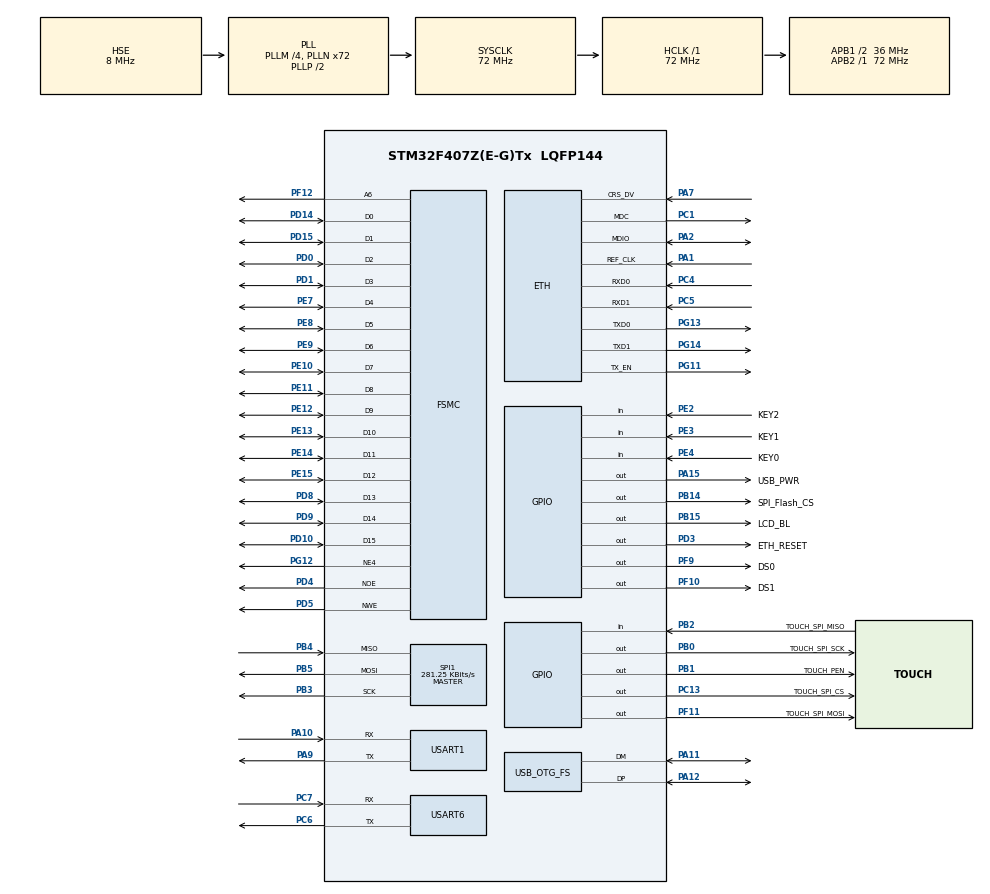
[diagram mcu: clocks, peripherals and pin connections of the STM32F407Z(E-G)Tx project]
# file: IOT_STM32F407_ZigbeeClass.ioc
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ETH.MACAddr=00\:80\:E1\:00\:00\:00
ETH.MediaInterface=ETH_MEDIA_INTERFACE_RMII
ETH.PHY_DUPLEX_STATUS=0x0010
ETH.PHY_ISFR=0x1D
ETH.PHY_ISFR_INT4=0x0010
ETH.PHY_SPEED_STATUS=0x0004
ETH.PHY_SR=0x1F
ETH.PhyAddress=0
ETH.RxMode=ETH_RXINTERRUPT_MODE
FATFS._CODE_PAGE=936
FATFS._USE_LFN=3
FREERTOS.Tasks01=WebServer_Task,1,4096,WebServerTask,Default,NULL,Dynamic,NULL,NULL;ZigBee_Task,0,256,ZigBeeTask,Default,NULL,Dynamic,NULL,NULL;LVGL_Task,-1,2048,LVGLTask,Default,NULL,Dynamic,NULL,NULL
FREERTOS.configTOTAL_HEAP_SIZE=40960
FSMC.AddressSetupTime1=2
FSMC.BusTurnAroundDuration1=0
FSMC.DataSetupTime1=5
LWIP.GATEWAY_ADDRESS=192.168.010.001
LWIP.IP_ADDRESS=192.168.010.003
LWIP.LWIP_DHCP=0
LWIP.LWIP_DNS=1
LWIP.LWIP_UDP=1
LWIP.NETMASK_ADDRESS=255.255.255.000
LWIP.Version=v2.1.2_Cube
Mcu.Family=STM32F4
Mcu.Name=STM32F407Z(E-G)Tx
Mcu.Package=LQFP144
NVIC.ETH_IRQn=true\:5\:0\:false\:false\:true\:true\:true\:true
NVIC.OTG_FS_IRQn=true\:5\:0\:false\:false\:true\:true\:false\:true
NVIC.PriorityGroup=NVIC_PRIORITYGROUP_4
NVIC.TIM1_UP_TIM10_IRQn=true\:15\:0\:false\:false\:true\:false\:false\:true
NVIC.TIM6_DAC_IRQn=true\:5\:0\:false\:false\:true\:true\:true\:true
NVIC.TimeBase=TIM1_UP_TIM10_IRQn
NVIC.TimeBaseIP=TIM1
NVIC.USART6_IRQn=true\:5\:0\:false\:false\:true\:true\:true\:true
PA1.Mode=RMII
PA1.Signal=ETH_REF_CLK
PA10.Mode=Asynchronous
PA10.Signal=USART1_RX
PA11.Mode=Host_Only
PA11.Signal=USB_OTG_FS_DM
PA12.Mode=Host_Only
PA12.Signal=USB_OTG_FS_DP
PA15.GPIO_Label=USB_PWR
PA15.GPIO_PuPd=GPIO_PULLUP
PA15.PinState=GPIO_PIN_SET
PA15.Signal=GPIO_Output
PA2.Mode=RMII
PA2.Signal=ETH_MDIO
PA7.Mode=RMII
PA7.Signal=ETH_CRS_DV
PA9.Mode=Asynchronous
PA9.Signal=USART1_TX
PB0.GPIO_Label=TOUCH_SPI_SCK
PB0.GPIO_Speed=GPIO_SPEED_FREQ_VERY_HIGH
PB0.Signal=GPIO_Output
PB1.GPIO_Label=TOUCH_PEN
PB1.Signal=GPIO_Output
PB14.GPIO_Label=SPI_Flash_CS
PB14.GPIO_Speed=GPIO_SPEED_FREQ_HIGH
PB14.Signal=GPIO_Output
PB15.GPIO_Label=LCD_BL
PB15.Signal=GPIO_Output
PB2.GPIO_Label=TOUCH_SPI_MISO
PB2.Signal=GPIO_Input
PB3.Mode=Full_Duplex_Master
PB3.Signal=SPI1_SCK
PB4.Mode=Full_Duplex_Master
PB4.Signal=SPI1_MISO
PB5.Mode=Full_Duplex_Master
PB5.Signal=SPI1_MOSI
PC1.Mode=RMII
PC1.Signal=ETH_MDC
PC13-ANTI_TAMP.GPIO_Label=TOUCH_SPI_CS
PC13-ANTI_TAMP.Signal=GPIO_Output
PC14-OSC32_IN.Mode=LSE-External-Oscillator
PC14-OSC32_IN.Signal=RCC_OSC32_IN
PC15-OSC32_OUT.Mode=LSE-External-Oscillator
PC15-OSC32_OUT.Signal=RCC_OSC32_OUT
PC4.Mode=RMII
PC4.Signal=ETH_RXD0
PC5.Mode=RMII
PC5.Signal=ETH_RXD1
PC6.Mode=Asynchronous
PC6.Signal=USART6_TX
PC7.Mode=Asynchronous
PC7.Signal=USART6_RX
PD0.Signal=FSMC_D2_DA2
PD1.Signal=FSMC_D3_DA3
PD10.Signal=FSMC_D15_DA15
PD14.Signal=FSMC_D0_DA0
PD15.Signal=FSMC_D1_DA1
PD3.GPIO_Label=ETH_RESET
PD3.GPIO_Speed=GPIO_SPEED_FREQ_HIGH
PD3.Signal=GPIO_Output
PD4.Signal=FSMC_NOE
PD5.Signal=FSMC_NWE
PD8.Signal=FSMC_D13_DA13
PD9.Signal=FSMC_D14_DA14
PE10.Signal=FSMC_D7_DA7
PE11.Signal=FSMC_D8_DA8
PE12.Signal=FSMC_D9_DA9
PE13.Signal=FSMC_D10_DA10
PE14.Signal=FSMC_D11_DA11
PE15.Signal=FSMC_D12_DA12
PE2.GPIO_Label=KEY2
PE2.GPIO_PuPd=GPIO_PULLUP
PE2.Signal=GPIO_Input
PE3.GPIO_Label=KEY1
PE3.GPIO_PuPd=GPIO_PULLUP
PE3.Signal=GPIO_Input
PE4.GPIO_Label=KEY0
PE4.GPIO_PuPd=GPIO_PULLUP
PE4.Signal=GPIO_Input
PE7.Signal=FSMC_D4_DA4
PE8.Signal=FSMC_D5_DA5
PE9.Signal=FSMC_D6_DA6
PF10.GPIO_Label=DS1
PF10.GPIO_PuPd=GPIO_PULLUP
PF10.GPIO_Speed=GPIO_SPEED_FREQ_HIGH
PF10.Signal=GPIO_Output
PF11.GPIO_Label=TOUCH_SPI_MOSI
PF11.GPIO_Speed=GPIO_SPEED_FREQ_HIGH
PF11.Signal=GPIO_Output
PF12.Signal=FSMC_A6
PF9.GPIO_Label=DS0
PF9.GPIO_PuPd=GPIO_PULLUP
PF9.GPIO_Speed=GPIO_SPEED_FREQ_HIGH
PF9.Signal=GPIO_Output
PG11.Mode=RMII
PG11.Signal=ETH_TX_EN
PG12.Mode=NorPsramChipSelect4_1
PG12.Signal=FSMC_NE4
PG13.Mode=RMII
PG13.Signal=ETH_TXD0
PG14.Mode=RMII
PG14.Signal=ETH_TXD1
PH0-OSC_IN.Mode=HSE-External-Oscillator
PH0-OSC_IN.Signal=RCC_OSC_IN
PH1-OSC_OUT.Mode=HSE-External-Oscillator
PH1-OSC_OUT.Signal=RCC_OSC_OUT
ProjectManager.HeapSize=0x1000
ProjectManager.StackSize=0x1000
ProjectManager.TargetToolchain=MDK-ARM V5.32
RCC.48MHZClocksFreq_Value=48000000
RCC.AHBFreq_Value=72000000
RCC.APB1CLKDivider=RCC_HCLK_DIV2
RCC.APB1Freq_Value=36000000
RCC.APB1TimFreq_Value=72000000
RCC.APB2Freq_Value=72000000
RCC.APB2TimFreq_Value=72000000
RCC.CortexFreq_Value=72000000
RCC.HCLKFreq_Value=72000000
RCC.HSE_VALUE=8000000
RCC.HSI_VALUE=16000000
RCC.PLLM=4
RCC.PLLN=72
RCC.PLLQ=3
RCC.SYSCLKFreq_VALUE=72000000
RCC.SYSCLKSource=RCC_SYSCLKSOURCE_PLLCLK
RCC.VCOOutputFreq_Value=144000000
SH.FSMC_A6.0=FSMC_A6,A6_1
SH.FSMC_D0_DA0.0=FSMC_D0,16b-d1
SH.FSMC_D10_DA10.0=FSMC_D10,16b-d1
SH.FSMC_D11_DA11.0=FSMC_D11,16b-d1
SH.FSMC_D12_DA12.0=FSMC_D12,16b-d1
SH.FSMC_D13_DA13.0=FSMC_D13,16b-d1
SH.FSMC_D14_DA14.0=FSMC_D14,16b-d1
SH.FSMC_D15_DA15.0=FSMC_D15,16b-d1
SH.FSMC_D1_DA1.0=FSMC_D1,16b-d1
SH.FSMC_D2_DA2.0=FSMC_D2,16b-d1
SH.FSMC_D3_DA3.0=FSMC_D3,16b-d1
SH.FSMC_D4_DA4.0=FSMC_D4,16b-d1
SH.FSMC_D5_DA5.0=FSMC_D5,16b-d1
SH.FSMC_D6_DA6.0=FSMC_D6,16b-d1
SH.FSMC_D7_DA7.0=FSMC_D7,16b-d1
SH.FSMC_D8_DA8.0=FSMC_D8,16b-d1
SH.FSMC_D9_DA9.0=FSMC_D9,16b-d1
SH.FSMC_NOE.0=FSMC_NOE,Lcd1
SH.FSMC_NWE.0=FSMC_NWE,Lcd1
SPI1.BaudRatePrescaler=SPI_BAUDRATEPRESCALER_256
SPI1.CalculateBaudRate=281.25 KBits/s
SPI1.Direction=SPI_DIRECTION_2LINES
SPI1.Mode=SPI_MODE_MASTER
SPI1.VirtualType=VM_MASTER
TIM6.AutoReloadPreload=TIM_AUTORELOAD_PRELOAD_ENABLE
TIM6.Period=4999
TIM6.Prescaler=71
USART1.VirtualMode=VM_ASYNC
USART6.VirtualMode=VM_ASYNC
USB_HOST.USBH_HandleTypeDef-MSC_FS=hUsbHostFS
USB_HOST.USBH_USE_OS-MSC_FS=0
USB_HOST.VirtualModeFS=Msc
USB_OTG_FS.VirtualMode=Host_Only
USB_OTG_FS.phy_itface=HCD_PHY_EMBEDDED
VP_FATFS_VS_USB.Mode=USB
VP_FREERTOS_VS_CMSIS_V1.Mode=CMSIS_V1
VP_LWIP_VS_Enabled.Mode=Enabled
VP_SYS_VS_tim1.Mode=TIM1
VP_TIM6_VS_ClockSourceINT.Mode=Enable_Timer
VP_USB_HOST_VS_USB_HOST_MSC_FS.Mode=MSC_FS
board=custom

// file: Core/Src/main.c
/* USER CODE BEGIN Header */
/**
  ******************************************************************************
  * @file           : main.c
  * @brief          : Main program body
  ******************************************************************************
  * @attention
  *
  * <h2><center>&copy; Copyright (c) 2025 STMicroelectronics.
  * All rights reserved.</center></h2>
  *
  * This software component is licensed by ST under BSD 3-Clause license,
  * the "License"; You may not use this file except in compliance with the
  * License. You may obtain a copy of the License at:
  *                        opensource.org/licenses/BSD-3-Clause
  *
  ******************************************************************************
  */
/* USER CODE END Header */
#include "main.h"
#include "cmsis_os.h"
#include "fatfs.h"
#include "lwip.h"
#include "spi.h"
#include "tim.h"
#include "usart.h"
#include "usb_host.h"
#include "gpio.h"
#include "fsmc.h"

/* USER CODE BEGIN Includes */
#include "MyApplication.h"
/* USER CODE END Includes */

void SystemClock_Config(void);
void MX_FREERTOS_Init(void);

int main(void)
{

  /* MCU Configuration--------------------------------------------------------*/

  /* Reset of all peripherals, Initializes the Flash interface and the Systick. */
  HAL_Init();

  /* Configure the system clock */
  SystemClock_Config();

  /* Initialize all configured peripherals */
  MX_GPIO_Init();
  MX_TIM6_Init();
  MX_USART1_UART_Init();
  MX_FATFS_Init();
  MX_FSMC_Init();
  MX_SPI1_Init();
  MX_USART6_UART_Init();
  /* USER CODE BEGIN 2 */
  // 外设初始化
  MyInit.Peripheral_Set();
  printf("外设初始化成功\r\n");
  /* USER CODE END 2 */

  /* Call init function for freertos objects (in freertos.c) */
  MX_FREERTOS_Init();
  /* Start scheduler */
  osKernelStart();

  /* We should never get here as control is now taken by the scheduler */
  /* Infinite loop */
  while (1)
  {

  }
}

void SystemClock_Config(void)
{
  RCC_OscInitTypeDef RCC_OscInitStruct = {0};
  RCC_ClkInitTypeDef RCC_ClkInitStruct = {0};

  /** Configure the main internal regulator output voltage
  */
  __HAL_RCC_PWR_CLK_ENABLE();
  __HAL_PWR_VOLTAGESCALING_CONFIG(PWR_REGULATOR_VOLTAGE_SCALE1);
  /** Initializes the RCC Oscillators according to the specified parameters
  * in the RCC_OscInitTypeDef structure.
  */
  RCC_OscInitStruct.OscillatorType = RCC_OSCILLATORTYPE_HSE;
  RCC_OscInitStruct.HSEState = RCC_HSE_ON;
  RCC_OscInitStruct.PLL.PLLState = RCC_PLL_ON;
  RCC_OscInitStruct.PLL.PLLSource = RCC_PLLSOURCE_HSE;
  RCC_OscInitStruct.PLL.PLLM = 4;
  RCC_OscInitStruct.PLL.PLLN = 72;
  RCC_OscInitStruct.PLL.PLLP = RCC_PLLP_DIV2;
  RCC_OscInitStruct.PLL.PLLQ = 3;
  if (HAL_RCC_OscConfig(&RCC_OscInitStruct) != HAL_OK)
  {
    Error_Handler();
  }
  /** Initializes the CPU, AHB and APB buses clocks
  */
  RCC_ClkInitStruct.ClockType = RCC_CLOCKTYPE_HCLK|RCC_CLOCKTYPE_SYSCLK
                              |RCC_CLOCKTYPE_PCLK1|RCC_CLOCKTYPE_PCLK2;
  RCC_ClkInitStruct.SYSCLKSource = RCC_SYSCLKSOURCE_PLLCLK;
  RCC_ClkInitStruct.AHBCLKDivider = RCC_SYSCLK_DIV1;
  RCC_ClkInitStruct.APB1CLKDivider = RCC_HCLK_DIV2;
  RCC_ClkInitStruct.APB2CLKDivider = RCC_HCLK_DIV1;

  if (HAL_RCC_ClockConfig(&RCC_ClkInitStruct, FLASH_LATENCY_2) != HAL_OK)
  {
    Error_Handler();
  }
}

void HAL_TIM_PeriodElapsedCallback(TIM_HandleTypeDef *htim)
{
  if (htim->Instance == TIM1) {
    HAL_IncTick();
  }
  /* USER CODE BEGIN Callback 1 */
  // 定时器6中断函数 5ms
  if(htim == &htim6)
  {
    // 系统运行时间
    Timer6.usMCU_Run_Timer++;
    // 用于按键检测
    KEY_STA_Machine.Scan_Timer++;
    KEY_STA_Machine.Double_Click_Timer++;
    KEY_STA_Machine.Press_Timer++;
    // 用于SPI_FLash
    SPI_FLASH.SPI_FLASH_Delay_Timer++;
    // 串口6定时器
    _USART6.USART_TIMER++;
    if(((_USART6.USART_TIMER % TIMER_200ms) == 0) && _USART6.USART_TIMER_EN)
    {
      _USART6.RX_BUF[_USART6.RX_STA&0x7FFF] = 0;  // 添加结束符
      _USART6.RX_STA |= 0x8000;                   // 时间到强制结束
      _USART6.USART_TIMER_EN = 0;                 // 关闭定定时器
      _USART6.USART_TIMER = 0;
    }
  }
  /* USER CODE END Callback 1 */
}

void Error_Handler(void)
{
  __disable_irq();
  while (1)
  {
  }
}

/************************ (C) COPYRIGHT STMicroelectronics *****END OF FILE****/

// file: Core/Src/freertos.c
/* USER CODE BEGIN Header */
/**
  ******************************************************************************
  * File Name          : freertos.c
  * Description        : Code for freertos applications
  ******************************************************************************
  * @attention
  *
  * <h2><center>&copy; Copyright (c) 2025 STMicroelectronics.
  * All rights reserved.</center></h2>
  *
  * This software component is licensed by ST under Ultimate Liberty license
  * SLA0044, the "License"; You may not use this file except in compliance with
  * the License. You may obtain a copy of the License at:
  *                             www.st.com/SLA0044
  *
  ******************************************************************************
  */
/* USER CODE END Header */

#include "FreeRTOS.h"
#include "task.h"
#include "main.h"
#include "cmsis_os.h"

/* USER CODE BEGIN Includes */
#include "MyApplication.h"
/* USER CODE END Includes */

osThreadId WebServer_TaskHandle;
osThreadId ZigBee_TaskHandle;
osThreadId LVGL_TaskHandle;

void WebServerTask(void const * argument);
void ZigBeeTask(void const * argument);
void LVGLTask(void const * argument);

extern void MX_LWIP_Init(void);
extern void MX_USB_HOST_Init(void);
void MX_FREERTOS_Init(void); /* (MISRA C 2004 rule 8.1) */

/* GetIdleTaskMemory prototype (linked to static allocation support) */
void vApplicationGetIdleTaskMemory( StaticTask_t **ppxIdleTaskTCBBuffer, StackType_t **ppxIdleTaskStackBuffer, uint32_t *pulIdleTaskStackSize );

/* USER CODE BEGIN GET_IDLE_TASK_MEMORY */
static StaticTask_t xIdleTaskTCBBuffer;
static StackType_t xIdleStack[configMINIMAL_STACK_SIZE];

void vApplicationGetIdleTaskMemory( StaticTask_t **ppxIdleTaskTCBBuffer, StackType_t **ppxIdleTaskStackBuffer, uint32_t *pulIdleTaskStackSize )
{
  *ppxIdleTaskTCBBuffer = &xIdleTaskTCBBuffer;
  *ppxIdleTaskStackBuffer = &xIdleStack[0];
  *pulIdleTaskStackSize = configMINIMAL_STACK_SIZE;
  /* place for user code */
}
/* USER CODE END GET_IDLE_TASK_MEMORY */

void MX_FREERTOS_Init(void) {

  /* Create the thread(s) */
  /* definition and creation of WebServer_Task */
  osThreadDef(WebServer_Task, WebServerTask, osPriorityAboveNormal, 0, 4096);
  WebServer_TaskHandle = osThreadCreate(osThread(WebServer_Task), NULL);

  /* definition and creation of ZigBee_Task */
  osThreadDef(ZigBee_Task, ZigBeeTask, osPriorityNormal, 0, 256);
  ZigBee_TaskHandle = osThreadCreate(osThread(ZigBee_Task), NULL);

  /* definition and creation of LVGL_Task */
  osThreadDef(LVGL_Task, LVGLTask, osPriorityBelowNormal, 0, 2048);
  LVGL_TaskHandle = osThreadCreate(osThread(LVGL_Task), NULL);

}

void WebServerTask(void const * argument)
{
  /* init code for LWIP */
  MX_LWIP_Init();

  /* init code for USB_HOST */
  MX_USB_HOST_Init();
  /* USER CODE BEGIN WebServerTask */
  printf("system is runnung！\r\n");
  /* Infinite loop */
  for(;;)
  {
    http_server_socket_thread(NULL);
    osDelay(1);
  }
  /* USER CODE END WebServerTask */
}

void ZigBeeTask(void const * argument)
{
  /* USER CODE BEGIN ZigBeeTask */
  /* Infinite loop */
  for(;;)
  {
    if(_USART6.RX_STA & 0x8000)
    {
      //对接收到的数据进行解析
      ProtocolParse(_USART6.RX_BUF, 8);
      printf("SensorValue[0]:%d,SensorValue[1]:%d\r\n", SensorValue[0], SensorValue[1]);
      _USART6.RX_STA = 0;
    }
    osDelay(1);
  }
  /* USER CODE END ZigBeeTask */
}

void LVGLTask(void const * argument)
{
  /* USER CODE BEGIN LVGLTask */
  /* Infinite loop */
  for(;;)
  {
    // LVGL
    lv_tick_inc(1);
    lv_timer_handler();
    // 更新数据
//    GUI_Update();
    osDelay(1);
  }
  /* USER CODE END LVGLTask */
}

/************************ (C) COPYRIGHT STMicroelectronics *****END OF FILE****/
